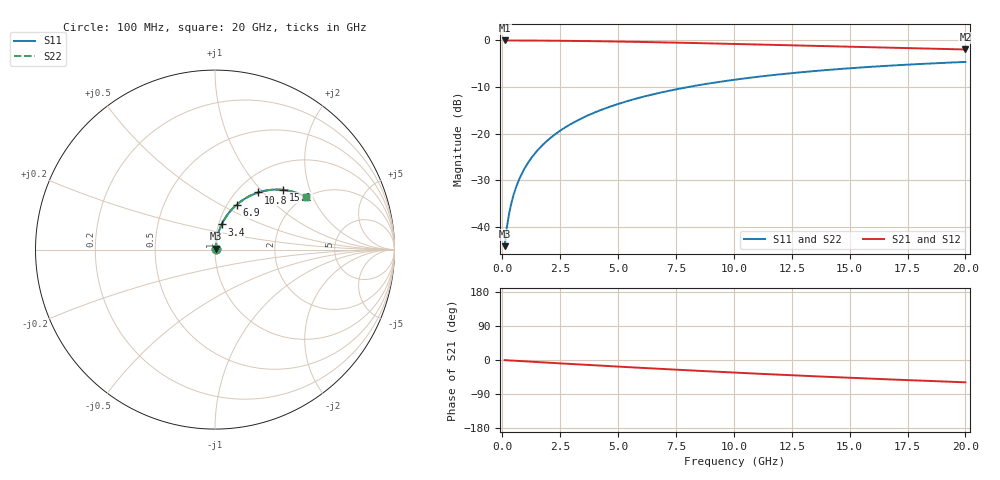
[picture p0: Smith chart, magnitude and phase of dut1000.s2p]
! Touchstone file exported from HFSS 2026.1.0
!  File:  C:/ffzhzh/LocalFiles/Ansys_Project_Files/temp_train_BSMRDL_1000_1783173080_43440.aedt
!  Generated:  09:52:46 PM Jul  4, 2026
!  Design:  BSMRDL
!  Project:  temp_train_BSMRDL_1000_1783173080_43440
! Variables:
!  h_bsmrdl = 4.55um
!  h_ox = 20um
!  h_rdl = 5um
!  h_sub = 80um
!  h_tmrdl = 5um
!  h_tsv = 80um
!  h_via = 3um
!  l_bsmrdl = 862.81um
!  l_sub = 1262.81um
!  l_tmrdl = 200um
!  m_sub = 200um
!  pitch = 57.08um
!  r_tsv = 6um
!  s_tmrdl = 10um
!  w_bsmrdl = 15.99um
!  w_sub = 500um
!  w_tmrdl = 12um
!  x_tsv_center1 = 206um
!  x_tsv_center2 = 1084.8um
!  x_tsv_center3 = 1296.8um
!  x_tsv_center4 = 2175.6um
!  x_tsv_center5 = 2387.6um
!  x_tsv_center6 = 3266.4um
# GHz S MA R 50.000000
! Terminal data exported
! Port[1] = BSM_RDL1_1_T1
! Port[2] = BSM_RDL1_1_T2
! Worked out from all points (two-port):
!   200 points, 100 MHz to 20 GHz, reference 50 ohm
!   highest |S21| = -0.04 dB at 100 MHz (marker M1); lowest = -2.0 dB at 20 GHz (marker M2)
!   |S21| within 3 dB of the highest: start of sweep to end of sweep
!   lowest |S11| = -44.1 dB at 100 MHz (marker M3), VSWR 1.01, Z = 50.4 + j0.456 ohm
!   |S11| at or under -10 dB: start of sweep to 8.045 GHz
!   |S22| runs from -44.1 to -4.6 dB; largest |S21 - S12| = 1.6e-14
!   S11 on the Smith chart (normalised r, x): 100 MHz: 1.01, +0.01; 3.4 GHz: 1.03, +0.30; 6.9 GHz: 1.10, +0.60; 10.8 GHz: 1.24, +0.94; 15.1 GHz: 1.50, +1.34; 20 GHz: 2.00, +1.79
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0.1  0.006236 46.5  0.9957 -0.4  0.9957 -0.4  0.006236 46.5
! Gamma 0 0 0 0
! Port Impedance 50 0 50 0
0.2  0.01004 63.3  0.9956 -0.7  0.9956 -0.7  0.01004 63.3
0.3  0.01418 70.2  0.9954 -1.1  0.9954 -1.1  0.01418 70.2
0.4  0.01839 73.9  0.9952 -1.5  0.9952 -1.5  0.01839 73.9
0.5  0.02263 76.0  0.995 -1.8  0.995 -1.8  0.02263 76.0
0.7  0.03114 78.4  0.9946 -2.5  0.9946 -2.5  0.03114 78.4
1  0.04396 79.7  0.9939 -3.6  0.9939 -3.6  0.04396 79.7
1.4  0.06106 80.0  0.9928 -5.0  0.9928 -5.0  0.06107 80.0
2  0.08658 79.0  0.9905 -7.1  0.9905 -7.1  0.08658 79.0
2.6  0.1118 77.5  0.9875 -9.2  0.9875 -9.2  0.1118 77.5
3.4  0.1447 75.2  0.9824 -12.0  0.9824 -12.0  0.1447 75.2
3.5  0.1488 74.9  0.9817 -12.3  0.9817 -12.3  0.1488 74.9
5  0.2079 70.2  0.9695 -17.4  0.9695 -17.4  0.2079 70.2
6.8  0.2739 64.6  0.9516 -23.3  0.9516 -23.3  0.2739 64.6
6.9  0.2774 64.3  0.9505 -23.6  0.9505 -23.6  0.2774 64.2
8.4  0.3278 59.7  0.9335 -28.3  0.9335 -28.3  0.3278 59.7
10.1  0.38 54.8  0.9129 -33.4  0.9129 -33.4  0.38 54.7
10.8  0.4 52.8  0.9042 -35.5  0.9042 -35.5  0.4 52.8
13.4  0.4665 45.7  0.8716 -42.7  0.8716 -42.7  0.4665 45.7
15.1  0.5037 41.4  0.8508 -47.2  0.8508 -47.2  0.5037 41.4
16.7  0.5344 37.5  0.832 -51.2  0.832 -51.2  0.5345 37.4
20  0.5862 29.9  0.797 -58.9  0.797 -58.9  0.5863 29.9
